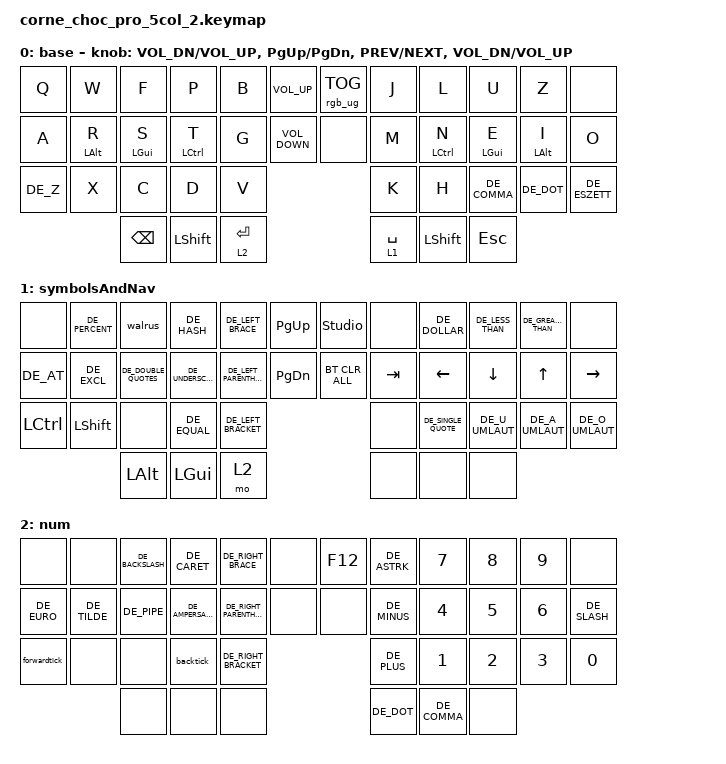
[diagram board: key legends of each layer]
/*
 * Copyright (c) 2020 The ZMK Contributors
 *
 * SPDX-License-Identifier: MIT
 */

#include <behaviors.dtsi>
#include <dt-bindings/zmk/bt.h>
#include <dt-bindings/zmk/keys.h>
#include <dt-bindings/zmk/rgb.h>
#include "keys_de.h"

#define BASE 0
#define NAV 1
#define MEDIA 2
#define NUM 3
#define SYM 4
#define FUN 5
#define ADJUST 6

&mt {
    flavor = "tap-preferred";
    tapping-term-ms = <500>;
};

/ {
    chosen { zmk,physical-layout = &five_col_layout; };

    macros {
        walrus: walrus {
            compatible = "zmk,behavior-macro";
            #binding-cells = <0>;
            bindings = <&kp LS(DOT) &kp DE_EQUAL>;
            label = "walrus";
        };

        forwardtick: backtick {
            compatible = "zmk,behavior-macro";
            #binding-cells = <0>;
            bindings = <&kp EQUAL &kp EQUAL>;
            label = "BACKTICK";
        };

        backtick: forwardtick {
            compatible = "zmk,behavior-macro";
            #binding-cells = <0>;
            bindings = <&kp LS(EQUAL) &kp LS(EQUAL)>;
            label = "FORWARDTICK";
        };
    };

    keymap {
        compatible = "zmk,keymap";

        base {
            display-name = "base";

            // --------------------------------------------------------------------------------------
            // |  Q  |  W  |  E  |  R  |  T  | MUTE | PLAY |  Y  |  U  |  I  |  O  |  P  |
            // | GUI/A | ALT/S | CTRL/D | SHIFT/F | G | ALT | ALT | H | SHIFT/J | CTRL/K | ALT/L | GUI/' |
            // |  Z  |  X  |  C  |  V  |  B  |             |  N  |  M  |  ,  |  .  |  /  |
            //              | ESC/MEDIA | SPACE/NAV | TAB/FUN | RET/SYM | BSPC/NUM | DEL/ADJ |

            bindings = <
  &kp Q     &kp W           &kp F           &kp P               &kp B      &kp C_VOLUME_UP    &rgb_ug RGB_TOG  &kp J        &kp L               &kp U           &kp Z           &none
  &kp A     &mt LEFT_ALT R  &mt LEFT_GUI S  &mt LEFT_CONTROL T  &kp G      &kp C_VOLUME_DOWN  &none            &kp M        &mt LEFT_CONTROL N  &mt LEFT_GUI E  &mt LEFT_ALT I  &kp O
  &kp DE_Z  &kp X           &kp C           &kp D               &kp V                                          &kp K        &kp H               &kp DE_COMMA    &kp DE_DOT      &kp DE_ESZETT
                            &kp BACKSPACE   &kp LEFT_SHIFT      &lt 2 RET                                      &lt 1 SPACE  &kp LEFT_SHIFT      &kp ESCAPE
            >;

            sensor-bindings = <&inc_dec_kp C_VOL_DN C_VOL_UP &inc_dec_kp PG_UP PG_DN &inc_dec_kp C_PREV C_NEXT &inc_dec_kp C_VOL_DN C_VOL_UP>;
        };

        symbolsAndNav {
            display-name = "symbolsAndNav";

            // --------------------------------------------------------------------------------
            // |     |     |      |       |     |      |      |      |      |      |      |      |
            // | GUI | ALT | CTRL | SHIFT |     | ALT  | ALT  | CAPS | LEFT | DOWN |  UP  | RIGHT|
            // |     |     |      |       |     |             | INS  | HOME | PGDN | PGUP | END  |
            //                       |     |     |     |             |     |     |     |

            bindings = <
  &none             &kp DE_PERCENT  &walrus               &kp DE_HASH        &kp DE_LEFT_BRACE        &kp PAGE_UP    &studio_unlock  &none    &kp DE_DOLLAR        &kp DE_LESS_THAN  &kp DE_GREATER_THAN  &none
  &kp DE_AT         &kp DE_EXCL     &kp DE_DOUBLE_QUOTES  &kp DE_UNDERSCORE  &kp DE_LEFT_PARENTHESIS  &kp PAGE_DOWN  &bt BT_CLR_ALL  &kp TAB  &kp LEFT             &kp DOWN          &kp UP               &kp RIGHT
  &kp LEFT_CONTROL  &kp LEFT_SHIFT  &none                 &kp DE_EQUAL       &kp DE_LEFT_BRACKET                                     &none    &kp DE_SINGLE_QUOTE  &kp DE_U_UMLAUT   &kp DE_A_UMLAUT      &kp DE_O_UMLAUT
                                    &kp LALT              &kp LEFT_GUI       &mo 2                                                   &none    &none                &none
            >;
        };

        num {
            display-name = "num";

            // --------------------------------------------------------------------------------------
            // | HUD | HUI | SAD | SAI | EFF | MUTE | PLAY | EFF | SAI | SAD | HUI | HUD |
            // | PREV| VOLD| MUTE| VOLU| NEXT| ALT  | ALT  | PREV| VOLD| MUTE| VOLU| NEXT|
            // | BRI | BRD | TOG |     |     |            |     |     | TOG | BRD | BRI |
            //                       |     |     |     |         |     |     |     |

            bindings = <
  &none         &none         &kp DE_BACKSLASH  &kp DE_CARET      &kp DE_RIGHT_BRACE        &none  &kp F12  &kp DE_ASTRK  &kp NUMBER_7  &kp NUMBER_8  &kp NUMBER_9  &none
  &kp DE_EURO   &kp DE_TILDE  &kp DE_PIPE       &kp DE_AMPERSAND  &kp DE_RIGHT_PARENTHESIS  &none  &none    &kp DE_MINUS  &kp NUMBER_4  &kp NUMBER_5  &kp NUMBER_6  &kp DE_SLASH
  &forwardtick  &none         &none             &backtick         &kp DE_RIGHT_BRACKET                      &kp DE_PLUS   &kp NUMBER_1  &kp NUMBER_2  &kp NUMBER_3  &kp N0
                              &none             &none             &none                                     &kp DE_DOT    &kp DE_COMMA  &none
            >;
        };
    };
};
